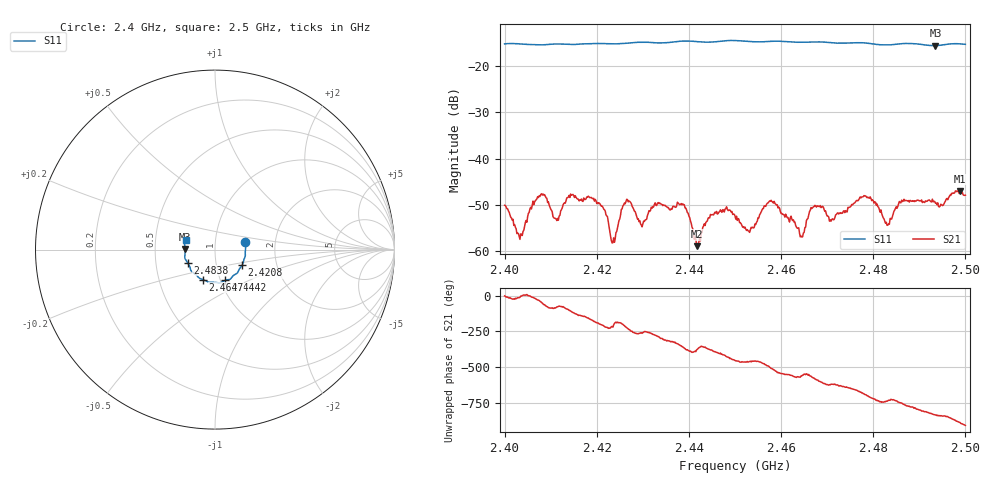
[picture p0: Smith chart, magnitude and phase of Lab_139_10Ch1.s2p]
# Hz S RI R 50
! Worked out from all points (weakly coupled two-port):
!   601 points, 2.4 GHz to 2.5 GHz, reference 50 ohm
!   highest |S21| = -46.99 dB at 2.4988 GHz (marker M1); lowest = -58.9 dB at 2.4418 GHz (marker M2)
!   lowest |S11| = -15.6 dB at 2.4935 GHz (marker M3), VSWR 1.40, Z = 35.8 + j0.204 ohm
!   |S11| at or under -10 dB: start of sweep to end of sweep
!   S12 and S22 are empty: the file has one direction only
!   S11 on the Smith chart (normalised r, x): 2.4 GHz: 1.40, +0.12; 2.4208 GHz: 1.33, -0.24; 2.4442 GHz: 1.05, -0.37; 2.4647 GHz: 0.83, -0.29; 2.4838 GHz: 0.73, -0.11; 2.5 GHz: 0.72, +0.08
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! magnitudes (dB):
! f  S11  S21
! 2.4 GHz  -15.2  -50.1
! 2.4033 GHz  -15.2  -57.4
! 2.4077 GHz  -15.4  -48.2
! 2.4112 GHz  -15.3  -53.0
! 2.4167 GHz  -15.3  -48.7
! 2.4208 GHz  -15.2  -50.0
! 2.4235 GHz  -15.2  -58.2
! 2.4262 GHz  -15.1  -49.8
! 2.4333 GHz  -15.0  -49.5
! 2.4388 GHz  -14.6  -49.9
! 2.4418 GHz  -14.8  -58.9
! 2.4442 GHz  -14.9  -52.9
! 2.45 GHz  -14.5  -52.4
! 2.458 GHz  -14.7  -49.3
! 2.4647 GHz  -14.9  -56.9
! 2.4667 GHz  -14.8  -50.8
! 2.4783 GHz  -15.0  -48.1
! 2.4833 GHz  -15.5  -54.1
! 2.4838 GHz  -15.4  -52.9
! 2.4935 GHz  -15.6  -49.6
! 2.4988 GHz  -15.2  -47.0
! 2.5 GHz  -15.3  -47.9
